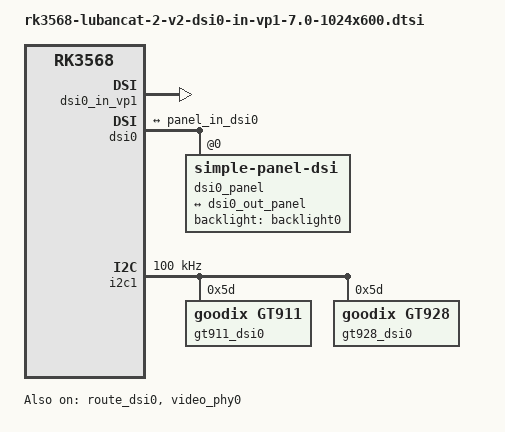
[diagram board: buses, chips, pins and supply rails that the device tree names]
// SPDX-License-Identifier: (GPL-2.0+ OR MIT)
&route_dsi0 {
	status = "okay";
	connect = <&vp0_out_dsi0>;
};

&video_phy0 {
	status = "okay";
};

&dsi0_in_vp0 {
	status = "disabled";
};

&dsi0_in_vp1 {
	status = "okay";
};

&dsi0 {
	status = "okay";
	power-supply = <&mipi_dsi0_power>;
	dsi0_panel:panel@0 {
		compatible = "simple-panel-dsi";
		reg = <0>;
		backlight = <&backlight0>;

		enable-delay-ms = <35>;
		prepare-delay-ms = <6>;
		reset-delay-ms = <0>;
		init-delay-ms = <20>;
		unprepare-delay-ms = <0>;
		disable-delay-ms = <20>;

		size,width = <74>;
		size,height = <133>;

		dsi,flags = <(MIPI_DSI_MODE_VIDEO | MIPI_DSI_MODE_VIDEO_BURST | MIPI_DSI_MODE_LPM | MIPI_DSI_MODE_EOT_PACKET)>;
		dsi,format = <MIPI_DSI_FMT_RGB888>;
		dsi,lanes  = <4>;

		panel-init-sequence = [
			15 00 02 80 AC
			15 00 02 81 B8
			15 00 02 82 09
			15 00 02 83 78
			15 00 02 84 7f
			15 00 02 85 bb
			15 00 02 86 70
		];

		panel-exit-sequence = [
			05 78 01 28
			05 00 01 10
		];

		disp_timing: display-timings {
			native-mode = <&dsi0_timing>;
			dsi0_timing: timing {
				clock-frequency = <51669000>;
				hactive = <1024>;
				vactive = <600>;
				hsync-len = <10>;
				hback-porch = <160>;
				hfront-porch = <160>;
				vsync-len = <1>;
				vback-porch = <23>;
				vfront-porch = <12>;
				hsync-active = <0>;
				vsync-active = <0>;
				de-active = <0>;
				pixelclk-active = <0>;
			};
		};
		ports {
			#address-cells = <1>;
			#size-cells = <0>;
			port@0 {
					reg = <0>;
					panel_in_dsi0: endpoint {
					remote-endpoint = <&dsi0_out_panel>;
				};
			};
		};
	};

	ports {
		#address-cells = <1>;
		#size-cells = <0>;

		port@1 {
			reg = <1>;
			dsi0_out_panel: endpoint {
				remote-endpoint = <&panel_in_dsi0>;
			};
		};
	};
};

&i2c1 {
	status = "okay";
	clock-frequency = <100000>;
	gt911_dsi0: gt911@5d {
		status = "okay";
		compatible = "goodix,gt911";
		reg = <0x5d>;
		touchscreen-inverted-x = <1>;
		touchscreen-inverted-y = <1>;
	};

	gt928_dsi0: gt928@5d {
		status = "okay";
		compatible = "goodix,gt928";
		reg = <0x5d>;
		touchscreen-inverted-y;
	};
};
